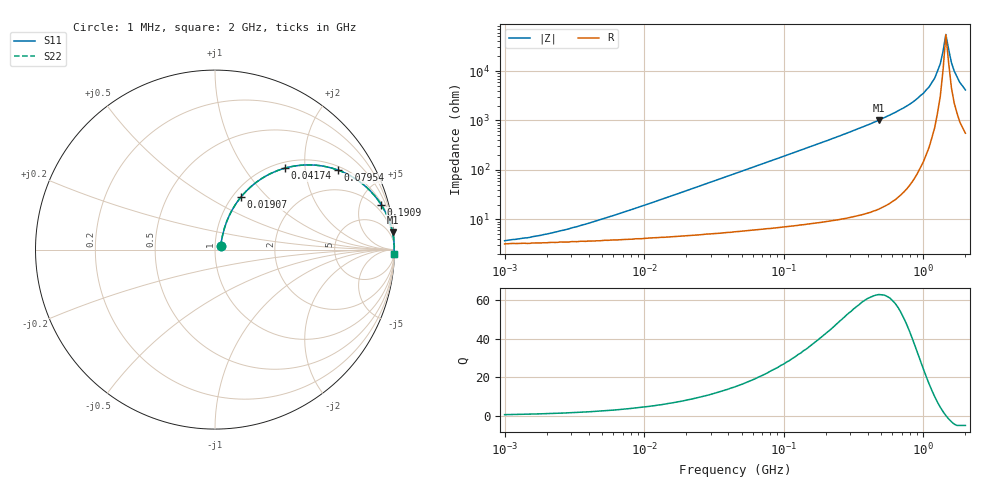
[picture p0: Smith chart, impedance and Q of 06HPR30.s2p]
# MHz S MA R 50
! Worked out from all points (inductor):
!   166 points, 1 MHz to 2 GHz, reference 50 ohm
!   read as one part in series: L = 300 nH near 6.313 MHz
!   highest Q = 62.6 at 479.6 MHz (marker M1), where L = 337 nH
!   self-resonance near 1.449 GHz
!   S11 on the Smith chart (normalised r, x): 1 MHz: 1.06, +0.04; 19.07 MHz: 1.09, +0.72; 41.74 MHz: 1.11, +1.58; 79.54 MHz: 1.13, +3.01; 190.9 MHz: 1.17, +7.32; 2 GHz: 11, -84
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1  0.036 29.3  0.969 -1.0  0.969 -1.0  0.036 29.3
1.82  0.046 43.6  0.967 -1.9  0.967 -1.9  0.046 43.6
3.632  0.075 58.5  0.963 -3.8  0.963 -3.8  0.075 58.5
13.193  0.235 66.7  0.932 -13.4  0.932 -13.4  0.235 66.7
19.072  0.328 63.7  0.904 -19.0  0.904 -19.0  0.328 63.7
41.736  0.6 49.3  0.76 -36.7  0.76 -36.7  0.6 49.3
45.763  0.634 47.0  0.733 -39.3  0.733 -39.3  0.634 47.0
79.541  0.817 32.8  0.543 -54.7  0.543 -54.7  0.817 32.8
166.224  0.947 17.3  0.298 -71.2  0.298 -71.2  0.947 17.3
190.859  0.959 15.2  0.262 -73.4  0.262 -73.4  0.959 15.2
479.553  0.994 5.6  0.098 -83.5  0.098 -83.5  0.994 5.6
576.582  0.996 4.4  0.077 -84.6  0.077 -84.6  0.996 4.4
833.511  0.998 2.4  0.043 -86.1  0.043 -86.1  0.998 2.4
1098.876  0.999 1.2  0.021 -85.4  0.021 -85.4  0.999 1.2
1204.929  0.999 0.8  0.014 -83.5  0.014 -83.5  0.999 0.8
1321.216  0.998 0.4  0.007161 -77.0  0.007161 -77.0  0.998 0.4
1383.503  0.998 0.2  0.003996 -65.0  0.003996 -65.0  0.998 0.2
1448.726  0.998 0.0  0.00182 -8.7  0.00182 -8.7  0.998 0.0
1588.542  0.998 -0.4  0.006755 71.6  0.006755 71.6  0.998 -0.4
1663.432  0.998 -0.6  0.01 76.4  0.01 76.4  0.998 -0.6
1823.969  0.997 -0.9  0.017 79.9  0.017 79.9  0.997 -0.9
2000  0.997 -1.3  0.024 81.0  0.024 81.0  0.997 -1.3
